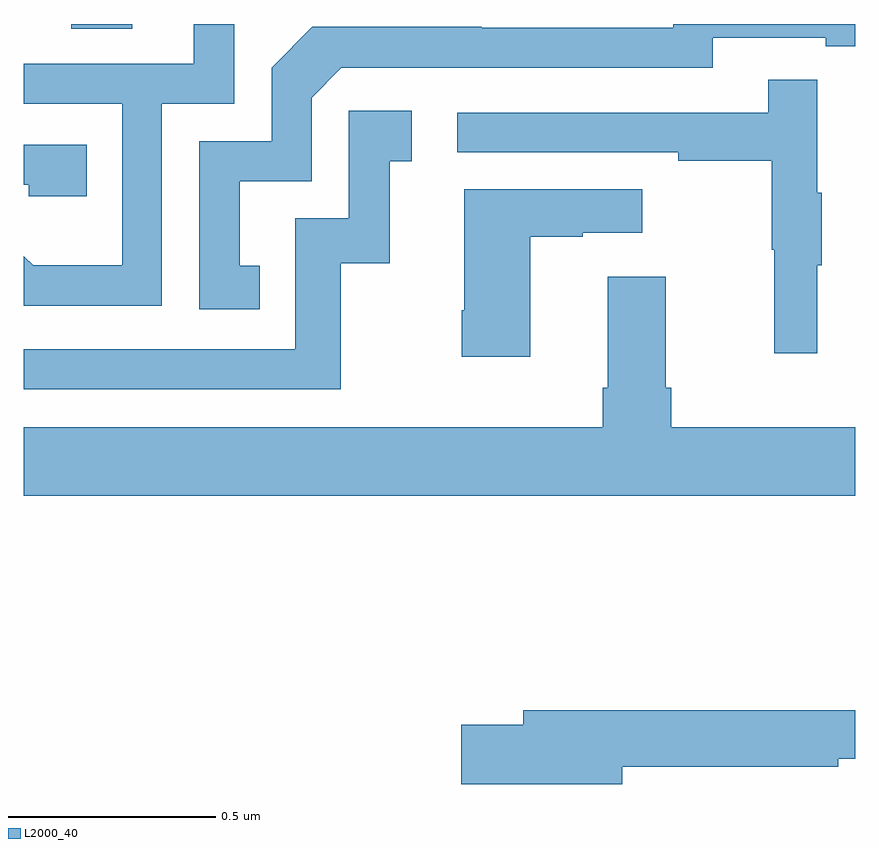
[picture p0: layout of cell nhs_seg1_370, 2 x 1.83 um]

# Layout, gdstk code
import gdstk
lib = gdstk.Library(unit=1e-6, precision=1e-09)
def R(c, l, rs):  # rectangles x0, y0, x1, y1
    for r in rs: c.add(gdstk.rectangle(r[:2], r[2:], *l))
def P(c, l, *ps):  # polygons
    for p in ps: c.add(gdstk.Polygon(p, *l))
L2000_40 = (2000, 40)

nhs_seg1_370 = lib.new_cell('nhs_seg1_370')
R(nhs_seg1_370, L2000_40, [(115.114,554.188,115.261,554.199)])
P(nhs_seg1_370, L2000_40, [(115.568,553.617),(115.519,553.617),(115.519,553.821),(115.692,553.821),(115.692,554.022),(115.764,554.094),(116.658,554.094),(116.658,554.166),(116.93,554.166),(116.93,554.146),(117,554.146),(117,554.199),(116.562,554.199),(116.562,554.19),(116.102,554.19),(116.102,554.192),(115.694,554.192),(115.596,554.094),(115.596,553.917),(115.422,553.917),(115.422,553.512),(115.568,553.512)],
  [(115.332,554.007),(115.506,554.007),(115.506,554.199),(115.409,554.199),(115.409,554.103),(115,554.103),(115,554.007),(115.236,554.007),(115.236,553.618),(115.022,553.618),(115,553.64),(115,553.521),(115.332,553.521)],
  [(116.909,553.619),(116.92,553.619),(116.92,553.793),(116.909,553.793),(116.909,554.065),(116.791,554.065),(116.791,553.986),(116.043,553.986),(116.043,553.89),(116.575,553.89),(116.575,553.87),(116.799,553.87),(116.799,553.656),(116.806,553.656),(116.806,553.407),(116.909,553.407)],
  [(115.762,553.623),(115.88,553.623),(115.88,553.869),(115.933,553.869),(115.933,553.99),(115.782,553.99),(115.782,553.731),(115.653,553.731),(115.653,553.416),(115,553.416),(115,553.32),(115.762,553.32)],
  [(115.151,553.908),(115,553.908),(115,553.812),(115.011,553.812),(115.011,553.785),(115.151,553.785)],
  [(116.218,553.687),(116.345,553.687),(116.345,553.697),(116.488,553.697),(116.488,553.801),(116.06,553.801),(116.06,553.51),(116.053,553.51),(116.053,553.398),(116.218,553.398)],
  [(117,553.228),(116.558,553.228),(116.558,553.324),(116.545,553.324),(116.545,553.591),(116.405,553.591),(116.405,553.324),(116.393,553.324),(116.393,553.228),(115,553.228),(115,553.064),(117,553.064)],
  [(116.44,552.412),(116.96,552.412),(116.96,552.431),(117,552.431),(117,552.548),(116.201,552.548),(116.201,552.512),(116.052,552.512),(116.052,552.37),(116.44,552.37)])

lib.write_gds('nhs_seg1_370.gds')
